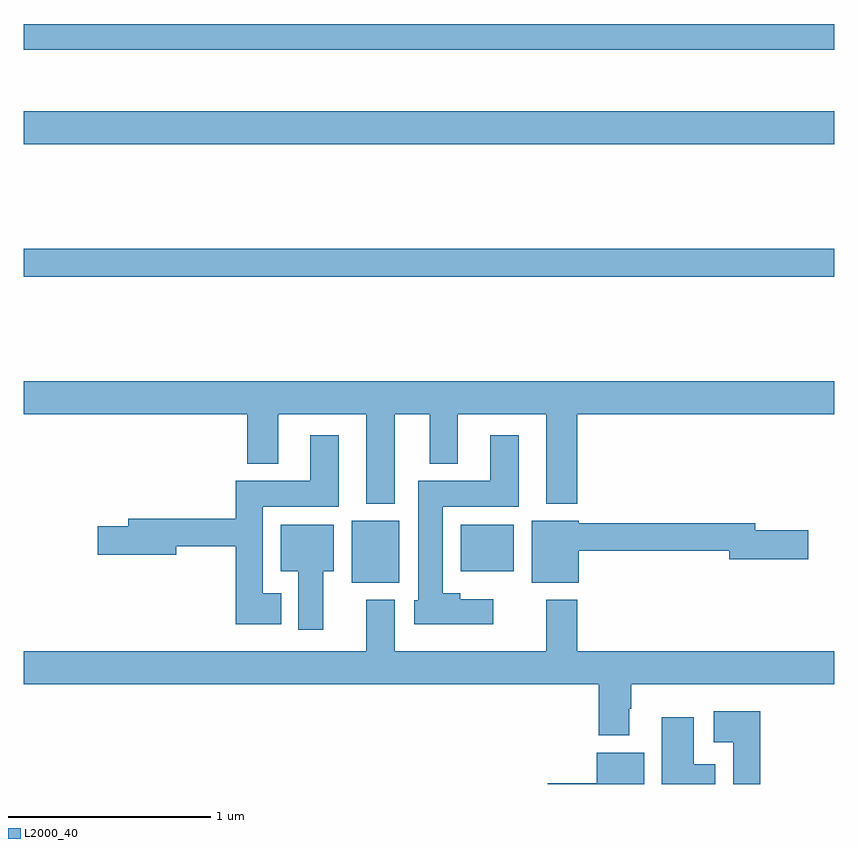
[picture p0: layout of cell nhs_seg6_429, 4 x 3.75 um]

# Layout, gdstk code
import gdstk
lib = gdstk.Library(unit=1e-6, precision=1e-09)
def R(c, l, rs):  # rectangles x0, y0, x1, y1
    for r in rs: c.add(gdstk.rectangle(r[:2], r[2:], *l))
def P(c, l, *ps):  # polygons
    for p in ps: c.add(gdstk.Polygon(p, *l))
L2000_40 = (2000, 40)

nhs_seg6_429 = lib.new_cell('nhs_seg6_429')
R(nhs_seg6_429, L2000_40, [(136.619,958.493,136.852,958.798), (137.156,958.55,137.419,958.78), (135,960.004,139,960.14), (135,960.656,139,960.82), (135,961.122,139,961.25)])
P(nhs_seg6_429, L2000_40, [(136.831,959.324),(137.003,959.324),(137.003,959.081),(137.143,959.081),(137.143,959.324),(137.579,959.324),(137.579,958.883),(137.732,958.883),(137.732,959.324),(139,959.324),(139,959.488),(135,959.488),(135,959.324),(136.103,959.324),(136.103,959.081),(136.255,959.081),(136.255,959.324),(136.691,959.324),(136.691,958.883),(136.831,958.883)],
  [(136.27,958.441),(136.18,958.441),(136.18,958.868),(136.555,958.868),(136.555,959.221),(136.415,959.221),(136.415,958.996),(136.046,958.996),(136.046,958.808),(135.515,958.808),(135.515,958.772),(135.366,958.772),(135.366,958.63),(135.754,958.63),(135.754,958.672),(136.046,958.672),(136.046,958.289),(136.27,958.289)],
  [(137.317,958.411),(137.155,958.411),(137.155,958.441),(137.068,958.441),(137.068,958.868),(137.443,958.868),(137.443,959.221),(137.303,959.221),(137.303,958.996),(136.946,958.996),(136.946,958.407),(136.928,958.407),(136.928,958.289),(137.317,958.289)],
  [(137.74,958.651),(138.482,958.651),(138.482,958.609),(138.871,958.609),(138.871,958.751),(138.61,958.751),(138.61,958.787),(137.74,958.787),(137.74,958.798),(137.507,958.798),(137.507,958.493),(137.74,958.493)],
  [(136.477,958.55),(136.531,958.55),(136.531,958.78),(136.268,958.78),(136.268,958.55),(136.355,958.55),(136.355,958.26),(136.477,958.26)],
  [(137.989,957.872),(137.997,957.872),(137.997,957.992),(139,957.992),(139,958.156),(137.732,958.156),(137.732,958.408),(137.579,958.408),(137.579,958.156),(136.831,958.156),(136.831,958.408),(136.691,958.408),(136.691,958.156),(135,958.156),(135,957.992),(137.837,957.992),(137.837,957.74),(137.989,957.74)],
  [(138.635,957.859),(138.405,957.859),(138.405,957.707),(138.5,957.707),(138.5,957.5),(138.635,957.5)],
  [(138.412,957.598),(138.307,957.598),(138.307,957.829),(138.149,957.829),(138.149,957.5),(138.412,957.5)],
  [(138.061,957.655),(137.828,957.655),(137.828,957.503),(137.586,957.503),(137.586,957.5),(138.061,957.5)])

lib.write_gds('nhs_seg6_429.gds')
